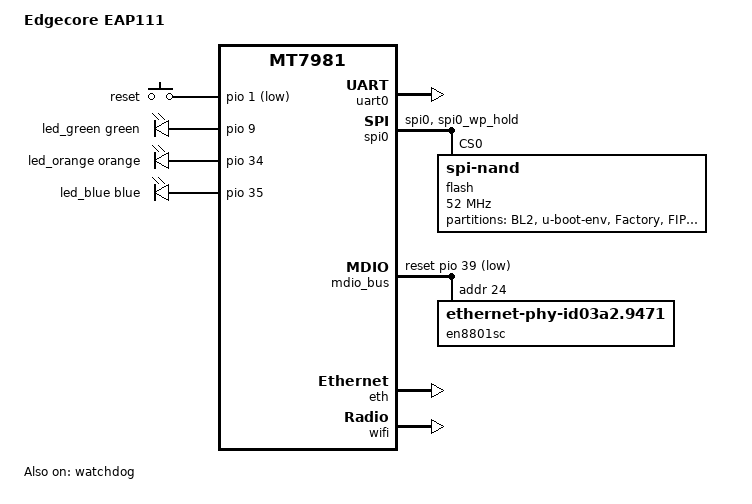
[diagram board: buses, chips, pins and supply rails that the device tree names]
// SPDX-License-Identifier: GPL-2.0-or-later OR MIT

/dts-v1/;

#include <dt-bindings/leds/common.h>
#include "mt7981.dtsi"

/ {
	model = "Edgecore EAP111";
	compatible = "edgecore,eap111", "mediatek,mt7981";

	aliases {
		serial0 = &uart0;
		led-boot = &led_green;
		led-failsafe = &led_green;
		led-running = &led_green;
		led-upgrade = &led_green;
	};

	chosen {
		bootargs-override = "console=ttyS0,115200n8";
		stdout-path = "serial0:115200n8";
	};

	gpio-keys {
		compatible = "gpio-keys";

		reset {
			label = "reset";
			linux,code = <KEY_RESTART>;
			gpios = <&pio 1 GPIO_ACTIVE_LOW>;
		};
	};

	leds {
		compatible = "gpio-leds";

		led_green: led-green {
			gpios = <&pio 9 GPIO_ACTIVE_HIGH>;
			color = <LED_COLOR_ID_GREEN>;
			function = LED_FUNCTION_INDICATOR;
		};

		led_orange: led-orange {
			gpios = <&pio 34 GPIO_ACTIVE_HIGH>;
			color = <LED_COLOR_ID_ORANGE>;
			function = LED_FUNCTION_INDICATOR;
		};

		led_blue: led-blue {
			gpios = <&pio 35 GPIO_ACTIVE_HIGH>;
			color = <LED_COLOR_ID_BLUE>;
			function = LED_FUNCTION_INDICATOR;
		};
	};
};

&uart0 {
	status = "okay";
};

&watchdog {
	status = "okay";
};

&pio {
	spi0_flash_pins: spi0-pins {
		mux {
			function = "spi";
			groups = "spi0", "spi0_wp_hold";
		};
	};
};

&spi0 {
	pinctrl-names = "default";
	pinctrl-0 = <&spi0_flash_pins>;
	cs-gpios = <0>, <0>;
	#address-cells = <1>;
	#size-cells = <0>;
	status = "okay";
	#address-cells = <1>;
	#size-cells = <0>;

	flash@0 {
		#address-cells = <1>;
		#size-cells = <1>;
		compatible = "spi-nand";
		reg = <0>;
		spi-max-frequency = <52000000>;

		spi-cal-enable;
		spi-cal-mode = "read-data";
		spi-cal-datalen = <7>;
		spi-cal-data = /bits/ 8 <0x53 0x50 0x49 0x4E 0x41 0x4E 0x44>;
		spi-cal-addrlen = <5>;
		spi-cal-addr = /bits/ 32 <0x0 0x0 0x0 0x0 0x0>;

		spi-tx-bus-width = <4>;
		spi-rx-bus-width = <4>;
		mediatek,nmbm;
		mediatek,bmt-max-ratio = <1>;
		mediatek,bmt-max-reserved-blocks = <64>;

		partitions {
			compatible = "fixed-partitions";
			#address-cells = <1>;
			#size-cells = <1>;

			partition@0 {
				label = "BL2";
				reg = <0x00000 0x100000>;
				read-only;
			};

			partition@100000 {
				label = "u-boot-env";
				reg = <0x100000 0x80000>;
			};

			partition@180000 {
				label = "Factory";
				reg = <0x180000 0x200000>;
				read-only;

				nvmem-layout {
					compatible = "fixed-layout";
					#address-cells = <1>;
					#size-cells = <1>;

					eeprom_factory: eeprom@0 {
						reg = <0x0 0x1000>;
					};

					macaddr_wan: macaddr@2a {
						reg = <0x2a 0x6>;
					};

					macaddr_lan: macaddr@24 {
						reg = <0x24 0x6>;
					};
				};
			};

			partition@380000 {
				label = "FIP";
				reg = <0x380000 0x200000>;
				read-only;
			};

			partition@580000 {
				label = "ubi";
				reg = <0x580000 0x4000000>;
				compatible = "linux,ubi";
			};
		};
	};
};

&mdio_bus {
	reset-gpios = <&pio 39 GPIO_ACTIVE_LOW>;
	reset-delay-us = <10000>;
	reset-post-delay-us = <10000>;

	en8801sc: ethernet-phy@24 {
		reg = <24>;
		compatible = "ethernet-phy-id03a2.9471";
		phy-mode = "sgmii";
	};
};

&eth {
	pinctrl-names = "default";
	pinctrl-0 = <&mdio_pins>;
	status = "okay";

	gmac0: mac@0 {
		compatible = "mediatek,eth-mac";
		reg = <0>;
		phy-mode = "sgmii";
		phy-handle = <&en8801sc>;
		managed = "in-band-status";
		nvmem-cells = <&macaddr_lan>;
		nvmem-cell-names = "mac-address";
	};

	gmac1: mac@1 {
		compatible = "mediatek,eth-mac";
		reg = <1>;
		phy-mode = "gmii";
		phy-handle = <&int_gbe_phy>;
		nvmem-cells = <&macaddr_wan>;
		nvmem-cell-names = "mac-address";
	};
};

&wifi {
	nvmem-cells = <&eeprom_factory>;
	nvmem-cell-names = "eeprom";
	status = "okay";
};
